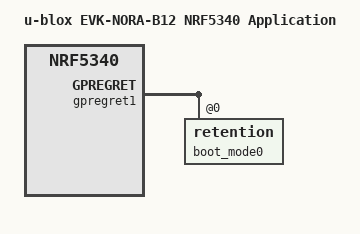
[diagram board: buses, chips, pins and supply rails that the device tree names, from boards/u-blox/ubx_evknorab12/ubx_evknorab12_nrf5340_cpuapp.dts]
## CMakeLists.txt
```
cmake_minimum_required(VERSION 3.20.0)
find_package(Zephyr REQUIRED HINTS $ENV{ZEPHYR_BASE})
project(hci_usb)

# Copied from zephyr/samples/subsys/usb/common (sample_usbd_init.c + sample_usbd.h)
target_include_directories(app PRIVATE src)
target_sources(app PRIVATE src/main.c)
target_sources_ifdef(CONFIG_USB_DEVICE_STACK_NEXT app PRIVATE src/sample_usbd_init.c)
```

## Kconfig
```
# Copied from zephyr/samples/subsys/usb/common/Kconfig.sample_usbd so the
# sample_usbd_init.c helper works outside the Zephyr tree.
rsource "Kconfig.sample_usbd"

source "Kconfig.zephyr"
```

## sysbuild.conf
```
# nRF5340: run the Bluetooth controller (hci_ipc) on the network core.
SB_CONFIG_NETCORE_HCI_IPC=y

# Thingy:53 defaults (MCUboot on app core, b0n secure boot + updates on the
# network core) are kept, but partitions come from devicetree, not Partition
# Manager. Layout mirrors the factory pm_static_thingy53_nrf5340_cpuapp.yml.
SB_CONFIG_PARTITION_MANAGER=n

# MCUboot manages two images: 0 = cpuapp, 1 = cpunet (via PCD / RAM flash sim).
SB_CONFIG_MCUBOOT_NRF53_MULTI_IMAGE_UPDATE=y

# Network core (b0n / NSIB) signing key: MCUboot's public ECDSA P-256 test key,
# shipped with the SDK. Fixed across builds and machines, so the key hash
# provisioned in the device stays valid for later updates. Public key =
# development only; use your own key (and your own MCUboot key) for production.
SB_CONFIG_SECURE_BOOT_SIGNING_KEY_FILE="${ZEPHYR_MCUBOOT_MODULE_DIR}/root-ec-p256-pkcs8.pem"

# Target: nRF5340 modules without external flash. The Thingy:53
# board enables its MX25R64 for MCUboot by default; turn that off so all
# slots live in internal flash (per NCS guidance for dropping external flash).
SB_CONFIG_PM_EXTERNAL_FLASH_MCUBOOT_SECONDARY=n
SB_CONFIG_PM_OVERRIDE_EXTERNAL_DRIVER_CHECK=n

# Bootloader setup made explicit (the Thingy:53 sets these as board defaults,
# the EVK-NORA-B12 does not): MCUboot overwrite-only on the app core, b0n on
# the network core, network core updatable through MCUboot.
SB_CONFIG_BOOTLOADER_MCUBOOT=y
SB_CONFIG_MCUBOOT_MODE_OVERWRITE_ONLY=y
SB_CONFIG_SECURE_BOOT_NETCORE=y
SB_CONFIG_NETCORE_APP_UPDATE=y
```

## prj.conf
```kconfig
# Bluetooth controller exposed to the host over USB (HCI, H4 over USB)
CONFIG_BT=y
CONFIG_BT_HCI_RAW=y

# USB device stack (next) with two functions: BT HCI + CDC ACM
CONFIG_USB_DEVICE_STACK_NEXT=y
CONFIG_CDC_ACM_SERIAL_INITIALIZE_AT_BOOT=n
CONFIG_SAMPLE_USBD_PID=0x000B
CONFIG_SAMPLE_USBD_PRODUCT="Zephyr USBD BT HCI"
CONFIG_USBD_BT_HCI=y
CONFIG_USBD_CDC_ACM_CLASS=y

# Release the network core (Bluetooth controller) from reset at boot. Some
# boards (Thingy:53) enable this by default, others (EVK-NORA-B12) do not.
CONFIG_SOC_NRF53_CPUNET_ENABLE=y

# CDC ACM is a UART device; it carries only MCUmgr SMP frames.
# Console framework is required by the SMP UART transport, but no text
# console is attached to the CDC port so printk never mixes with SMP.
CONFIG_SERIAL=y
CONFIG_UART_LINE_CTRL=y
CONFIG_CONSOLE=y
CONFIG_UART_CONSOLE=n
CONFIG_UART_MCUMGR=y

# MCUmgr (SMP) for firmware update of cpuapp (image 0) and cpunet (image 1)
CONFIG_NET_BUF=y
CONFIG_ZCBOR=y
CONFIG_CRC=y
CONFIG_BASE64=y
CONFIG_FLASH=y
CONFIG_FLASH_MAP=y
CONFIG_STREAM_FLASH=y
CONFIG_MCUMGR=y
CONFIG_MCUMGR_TRANSPORT_UART=y
CONFIG_IMG_MANAGER=y
CONFIG_MCUBOOT_IMG_MANAGER=y
CONFIG_MCUMGR_GRP_IMG=y
CONFIG_MCUMGR_GRP_OS=y
CONFIG_MAIN_STACK_SIZE=2048
CONFIG_SYSTEM_WORKQUEUE_STACK_SIZE=2304

# Keep-alive LED
CONFIG_GPIO=y
```

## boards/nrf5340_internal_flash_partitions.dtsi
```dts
/*
 * nRF5340 application core flash layout, internal flash only.
 * Used by the Thingy:53 board overlay and by MCUboot (sysbuild/mcuboot.overlay),
 * so the app and the bootloader always agree on the slots. The EVK-NORA-B12
 * board files (boards/u-blox/ubx_evknorab12) define the same layout natively.
 *
 *   0x000000  mcuboot   64 KB
 *   0x010000  slot0    352 KB  image 0 (cpuapp) active
 *   0x068000  slot1    352 KB  image 0 (cpuapp) update
 *   0x0C0000  slot3    256 KB  image 1 (cpunet) update
 *
 * slot3 must have the same size as slot2 (256 KB RAM flash simulator,
 * CONFIG_NRF53_RAM_FLASH_SIZE): MCUboot only accepts image slots with the
 * same number of sectors, otherwise it logs "slots have non-compatible
 * sectors" and silently skips the network core update.
 *
 * slot2 (image 1 primary) is the RAM flash simulator used by PCD, added by
 * the NCS sysbuild (nrf/modules/mcuboot/flash_sim.overlay).
 */

&flash0 {
	partitions {
		/*
		 * Drop the default nRF5340 partitions by node name (not by label), so
		 * this file also applies cleanly to boards that already define this
		 * layout, such as ubx_evknorab12. Missing nodes are ignored. Also covers
		 * custom boards with slot1 at 0x42000.
		 */
		/delete-node/ partition@0;
		/delete-node/ partition@10000;
		/delete-node/ partition@84000;
		/delete-node/ partition@42000;
		/delete-node/ partition@f8000;

		boot_partition: partition@0 {
			compatible = "zephyr,mapped-partition";
			label = "mcuboot";
			reg = <0x0 DT_SIZE_K(64)>;
		};

		slot0_partition: partition@10000 {
			compatible = "zephyr,mapped-partition";
			label = "image-0";
			reg = <0x10000 DT_SIZE_K(352)>;
		};

		slot1_partition: partition@68000 {
			compatible = "zephyr,mapped-partition";
			label = "image-1";
			reg = <0x68000 DT_SIZE_K(352)>;
		};

		slot3_partition: partition@c0000 {
			compatible = "zephyr,mapped-partition";
			label = "image-3";
			reg = <0xc0000 DT_SIZE_K(256)>;
		};
	};
};
```

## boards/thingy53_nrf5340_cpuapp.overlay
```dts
/*
 * Thingy:53 used as a stand-in for an nRF5340 module without external flash:
 * all MCUboot slots are in internal flash and no partition is placed on the
 * on-board MX25R64.
 */
#include "nrf5340_internal_flash_partitions.dtsi"
```

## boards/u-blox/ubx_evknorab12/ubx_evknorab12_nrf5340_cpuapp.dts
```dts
/*
 * u-blox EVK-NORA-B12 board configuration
 *
 * Copyright (c) 2023 u-blox AG
 * SPDX-License-Identifier: Apache-2.0
 */

/dts-v1/;
#include <nordic/nrf5340_cpuapp_qkaa.dtsi>
#include "ubx_evknorab12_cpuapp_common.dtsi"

/ {
	model = "u-blox EVK-NORA-B12 NRF5340 Application";
	compatible = "nordic,ubx-evknorab12-nrf5340-cpuapp";

	chosen {
		zephyr,sram = &sram0_image;
		zephyr,flash = &flash0;
		zephyr,code-partition = &slot0_partition;
		zephyr,sram-secure-partition = &sram0_s;
		zephyr,sram-non-secure-partition = &sram0_ns;
		zephyr,boot-mode = &boot_mode0;
	};
};

&gpregret1 {
	status = "okay";

	boot_mode0: boot_mode@0 {
		compatible = "zephyr,retention";
		status = "okay";
		reg = <0x0 0x1>;
	};
};

/* Internal-flash-only layout (the NORA-B12 module has no external flash) */
#include "ubx_evknorab12_nrf5340_cpuapp_partition.dtsi"
```

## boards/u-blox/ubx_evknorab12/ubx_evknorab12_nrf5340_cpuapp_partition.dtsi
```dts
/*
 * EVK-NORA-B12 application core memory layout (project-specific).
 *
 * The NORA-B12 module has no external flash, so every MCUboot slot is in
 * internal flash. Same layout as the Thingy:53 test setup:
 *
 *   0x000000  mcuboot   64 KB
 *   0x010000  slot0    352 KB  image 0 (cpuapp) active
 *   0x068000  slot1    352 KB  image 0 (cpuapp) update
 *   0x0C0000  slot3    256 KB  image 1 (cpunet) update
 *
 * slot3 must have the same size as slot2, the 256 KB RAM flash simulator the
 * NCS sysbuild adds for network core updates (CONFIG_NRF53_RAM_FLASH_SIZE).
 * MCUboot only accepts slots with the same number of sectors.
 *
 * Replaces zephyr/dts/vendor/nordic/nrf5340_cpuapp_partition.dtsi.
 */

&flash0 {
	partitions {
		ranges;
		#address-cells = <1>;
		#size-cells = <1>;

		boot_partition: partition@0 {
			compatible = "zephyr,mapped-partition";
			label = "mcuboot";
			reg = <0x0 DT_SIZE_K(64)>;
		};

		slot0_partition: partition@10000 {
			compatible = "zephyr,mapped-partition";
			label = "image-0";
			reg = <0x10000 DT_SIZE_K(352)>;
		};

		slot1_partition: partition@68000 {
			compatible = "zephyr,mapped-partition";
			label = "image-1";
			reg = <0x68000 DT_SIZE_K(352)>;
		};

		slot3_partition: partition@c0000 {
			compatible = "zephyr,mapped-partition";
			label = "image-3";
			reg = <0xc0000 DT_SIZE_K(256)>;
		};
	};
};

&uicr {
	bl_storage: uicr@100 {
		reg = <0x100 0x280>;
	};
};

#include <nordic/nrf5340_sram_partition.dtsi>
#include <nordic/nrf5340_shared_sram_partition.dtsi>
```

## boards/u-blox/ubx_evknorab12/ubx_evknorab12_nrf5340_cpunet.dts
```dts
/*
 * u-blox EVK-NORA-B12 board configuration
 *
 * Copyright (c) 2023 u-blox AG
 * SPDX-License-Identifier: Apache-2.0
 */

/dts-v1/;
#include <nordic/nrf5340_cpunet_qkaa.dtsi>
#include "ubx_evknorab12_common.dtsi"
#include "ubx_evknorab12_nrf5340_cpunet-pinctrl.dtsi"
#include <zephyr/dt-bindings/input/input-event-codes.h>

/ {
	model = "u-blox EVK-NORA-B12 NRF5340 Network";
	compatible = "nordic,ubx-evknorab12-nrf5340-cpunet";

	chosen {
		zephyr,console = &uart0;
		zephyr,shell-uart = &uart0;
		zephyr,uart-mcumgr = &uart0;
		zephyr,bt-mon-uart = &uart0;
		zephyr,bt-c2h-uart = &uart0;
		zephyr,bt-hci-ipc = &ipc0;
		nordic,802154-spinel-ipc = &ipc0;
		zephyr,sram = &sram1;
		zephyr,flash = &flash1;
		zephyr,code-partition = &slot0_partition;
		zephyr,ieee802154 = &ieee802154;
	};

	/* These aliases are provided for compatibility with samples */
	aliases {
		watchdog0 = &wdt0;
	};
};

&gpiote {
	status = "okay";
};

&gpio0 {
	status = "okay";
};

&gpio1 {
	status = "okay";
};

&uart0 {
	status = "okay";
	current-speed = <115200>;
	pinctrl-0 = <&uart0_default>;
	pinctrl-1 = <&uart0_sleep>;
	pinctrl-names = "default", "sleep";
};

arduino_serial: &uart0{};

arduino_i2c: &i2c0 {
	compatible = "nordic,nrf-twim";
	/* Cannot be used together with uart0. */
	/* status = "okay"; */
	pinctrl-0 = <&i2c0_default>;
	pinctrl-1 = <&i2c0_sleep>;
	pinctrl-names = "default", "sleep";
};

arduino_spi: &spi0 {
	compatible = "nordic,nrf-spim";
	/* Cannot be used together with uart0. */
	/* status = "okay"; */
	cs-gpios = <&arduino_header 16 GPIO_ACTIVE_LOW>; /* D10 */
	pinctrl-0 = <&spi0_default>;
	pinctrl-1 = <&spi0_sleep>;
	pinctrl-names = "default", "sleep";
};

&flash1 {
	partitions {
		ranges;
		#address-cells = <1>;
		#size-cells = <1>;

		boot_partition: partition@0 {
			compatible = "zephyr,mapped-partition";
			label = "mcuboot";
			reg = <0x00000000 0xc000>;
		};

		slot0_partition: partition@c000 {
			compatible = "zephyr,mapped-partition";
			label = "image-0";
			reg = <0x0000C000 0x17000>;
		};

		slot1_partition: partition@23000 {
			compatible = "zephyr,mapped-partition";
			label = "image-1";
			reg = <0x00023000 0x17000>;
		};

		storage_partition: partition@3a000 {
			compatible = "zephyr,mapped-partition";
			label = "storage";
			reg = <0x0003a000 0x6000>;
		};
	};
};

&ieee802154 {
	status = "okay";
};

/* Include default shared RAM configuration file */
#include <nordic/nrf5340_shared_sram_partition.dtsi>
```

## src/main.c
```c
/*
 * Copyright (c) 2018 Intel Corporation
 *
 * SPDX-License-Identifier: Apache-2.0
 */

#include <zephyr/kernel.h>
#include <zephyr/drivers/gpio.h>
#include <zephyr/sys/printk.h>
#include <zephyr/usb/usbd.h>

#include <sample_usbd.h>

/* Keep-alive blink on the Thingy:53 green LED (led1). */
static const struct gpio_dt_spec led = GPIO_DT_SPEC_GET(DT_ALIAS(led1), gpios);

#define BLINK_PERIOD_MS 1000

/*
 * Follow VBUS: enable the USB device when VBUS appears and disable it when
 * VBUS goes away. Without this, a VBUS drop after boot (cable replug, a host
 * that power-cycles its port) leaves the D+ pull-up off and the device never
 * shows up again until reset.
 */
static void usbd_msg_cb(struct usbd_context *const ctx, const struct usbd_msg *msg)
{
	if (!usbd_can_detect_vbus(ctx)) {
		return;
	}

	if (msg->type == USBD_MSG_VBUS_READY) {
		if (usbd_enable(ctx)) {
			printk("Failed to enable USB\n");
		}
	}

	if (msg->type == USBD_MSG_VBUS_REMOVED) {
		if (usbd_disable(ctx)) {
			printk("Failed to disable USB\n");
		}
	}
}

int main(void)
{
	struct usbd_context *sample_usbd;
	int ret;

	if (gpio_is_ready_dt(&led)) {
		gpio_pin_configure_dt(&led, GPIO_OUTPUT_INACTIVE);
	}

	sample_usbd = sample_usbd_init_device(usbd_msg_cb);
	if (sample_usbd == NULL) {
		printk("Failed to initialize USB device");
		return -ENODEV;
	}

	/* Controllers without VBUS detection are enabled right away. */
	if (!usbd_can_detect_vbus(sample_usbd)) {
		ret = usbd_enable(sample_usbd);
		if (ret != 0) {
			printk("Failed to enable USB");
			return 0;
		}
	}

	printk("Bluetooth over USB sample\n");

	while (gpio_is_ready_dt(&led)) {
		gpio_pin_toggle_dt(&led);
		k_msleep(BLINK_PERIOD_MS / 2);
	}

	return 0;
}
```
